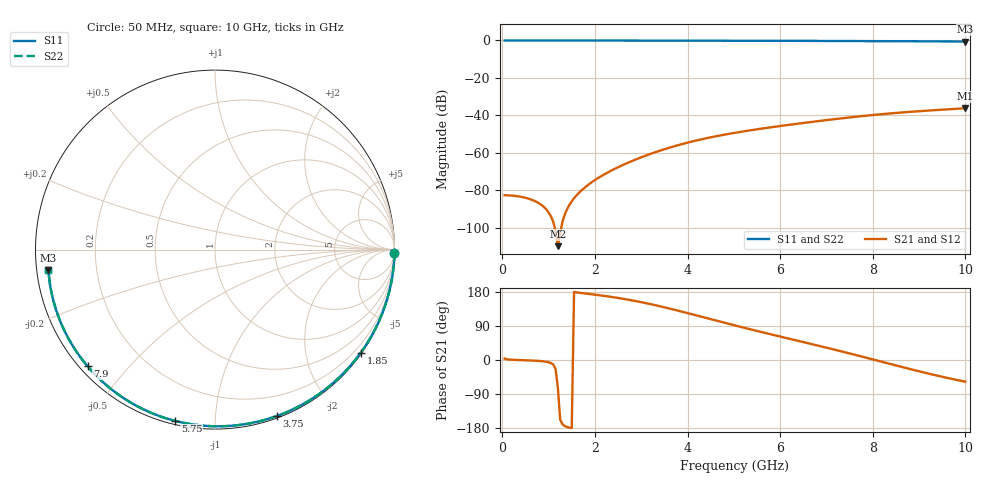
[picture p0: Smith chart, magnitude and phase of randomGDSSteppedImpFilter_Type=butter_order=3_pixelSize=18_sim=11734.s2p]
! freq	dB(S11)	phase(S11)	dB(S12)	phase(S12)
!  dB(S21)	phase(S21)	dB(S22)	phase(S22)
!S-par simulation data
#  GHz  S  DB  R 50
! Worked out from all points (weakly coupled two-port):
!   200 points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, 50 MHz to 10 GHz, reference 50 ohm
!   highest |S21| = -36.18 dB at 10 GHz (marker M1); lowest = -109.8 dB at 1.2 GHz (marker M2)
!   lowest |S11| = -0.6 dB at 10 GHz (marker M3), VSWR 29.87, Z = 1.68 - j3.09 ohm
!   |S11| at or under -10 dB: nowhere
!   |S22| runs from -0.6 to 0.0 dB; largest |S21 - S12| = 0
!   S11 on the Smith chart (normalised r, x): 50 MHz: open; 1.85 GHz: 0.03, -3.15; 3.75 GHz: 0.02, -1.44; 5.75 GHz: 0.02, -0.79; 7.9 GHz: 0.02, -0.39; 10 GHz: 0.03, -0.06
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0.05  -0.00 -1.0  -82.61 3.8  -82.61 3.8  -0.00 -1.0
0.6  -0.01 -11.6  -84.72 -1.1  -84.72 -1.1  -0.01 -11.6
1.2  -0.03 -23.0  -109.81 -73.0  -109.81 -73.0  -0.03 -23.0
1.7  -0.04 -32.5  -80.27 176.9  -80.27 176.9  -0.04 -32.4
1.75  -0.04 -33.4  -79.16 176.2  -79.16 176.2  -0.04 -33.4
1.85  -0.05 -35.3  -77.15 174.7  -77.15 174.7  -0.05 -35.2
2  -0.05 -38.0  -74.53 172.5  -74.53 172.5  -0.05 -38.0
2.15  -0.05 -40.8  -72.22 170.1  -72.22 170.1  -0.05 -40.8
2.5  -0.06 -47.2  -67.66 163.8  -67.66 163.8  -0.06 -47.2
2.95  -0.07 -55.4  -62.85 153.8  -62.85 153.8  -0.07 -55.3
3.4  -0.08 -63.4  -58.86 141.9  -58.86 141.9  -0.08 -63.3
3.75  -0.09 -69.5  -56.21 131.6  -56.21 131.6  -0.09 -69.5
4.35  -0.11 -79.8  -52.50 112.6  -52.50 112.6  -0.11 -79.8
5.05  -0.14 -91.5  -49.18 90.4  -49.18 90.4  -0.14 -91.5
5.75  -0.18 -103.0  -46.52 69.2  -46.52 69.2  -0.18 -103.0
6.2  -0.20 -110.3  -45.01 56.1  -45.01 56.1  -0.20 -110.3
6.7  -0.24 -118.3  -43.42 41.4  -43.42 41.4  -0.23 -118.3
7.3  -0.28 -127.9  -41.64 23.5  -41.64 23.5  -0.28 -127.9
7.9  -0.33 -137.5  -40.04 4.8  -40.04 4.8  -0.33 -137.5
8.35  -0.38 -144.8  -39.00 -9.6  -39.00 -9.6  -0.38 -144.8
9.2  -0.47 -159.0  -37.43 -35.8  -37.43 -35.8  -0.47 -158.9
10  -0.58 -172.9  -36.18 -57.2  -36.18 -57.2  -0.58 -172.9
